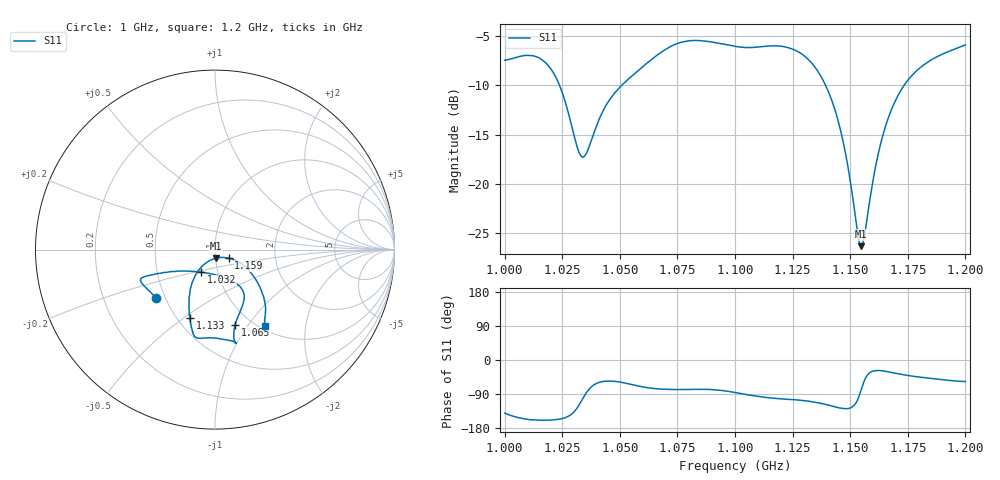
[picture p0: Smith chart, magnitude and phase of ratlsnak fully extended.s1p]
! NanoVNA-App
! Date: 2026-05-22 22:05:45
! Start: 1GHz Stop: 1.2GHz Points: 401
! S-Parameter data: F S11
# Hz S RI R 50
!  Frequency  S11_Real  S11_Imag
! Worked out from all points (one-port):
!   401 points, 1 GHz to 1.2 GHz, reference 50 ohm
!   lowest |S11| = -26.3 dB at 1.155 GHz (marker M1), VSWR 1.10, Z = 50.3 - j4.83 ohm
!   |S11| at or under -10 dB: 1.024 GHz to 1.051 GHz (26.97 MHz wide, 2.6 % of centre); 1.139 GHz to 1.173 GHz (34.06 MHz wide, 2.95 % of centre)
!   S11 on the Smith chart (normalised r, x): 1 GHz: 0.45, -0.30; 1.032 GHz: 0.83, -0.21; 1.065 GHz: 0.84, -0.87; 1.133 GHz: 0.58, -0.53; 1.159 GHz: 1.16, -0.11; 1.2 GHz: 1.06, -1.21
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1e9  -0.3267 -0.2717
1.0075e9  -0.4018 -0.1933
1.0135e9  -0.4129 -0.162
1.02e9  -0.3574 -0.1424
1.025e9  -0.2626 -0.1251
1.032e9  -0.0779 -0.1253
1.035e9  -0.00193 -0.14
1.0425e9  0.1263 -0.1946
1.05e9  0.1624 -0.2635
1.0645e9  0.111 -0.4204
1.075e9  0.1069 -0.5053
1.0895e9  0.1102 -0.5147
1.1e9  0.0367 -0.498
1.1125e9  -0.0704 -0.4935
1.125e9  -0.122 -0.4672
1.1335e9  -0.1401 -0.3832
1.143e9  -0.1332 -0.206
1.1465e9  -0.1054 -0.1369
1.15e9  -0.0622 -0.0838
1.153e9  -0.0178 -0.0555
1.1545e9  0.00548 -0.0479
1.156e9  0.0291 -0.0442
1.159e9  0.0766 -0.0472
1.1625e9  0.1308 -0.0688
1.166e9  0.1788 -0.1052
1.175e9  0.2538 -0.2197
1.184e9  0.2799 -0.3097
1.2e9  0.2775 -0.4251
